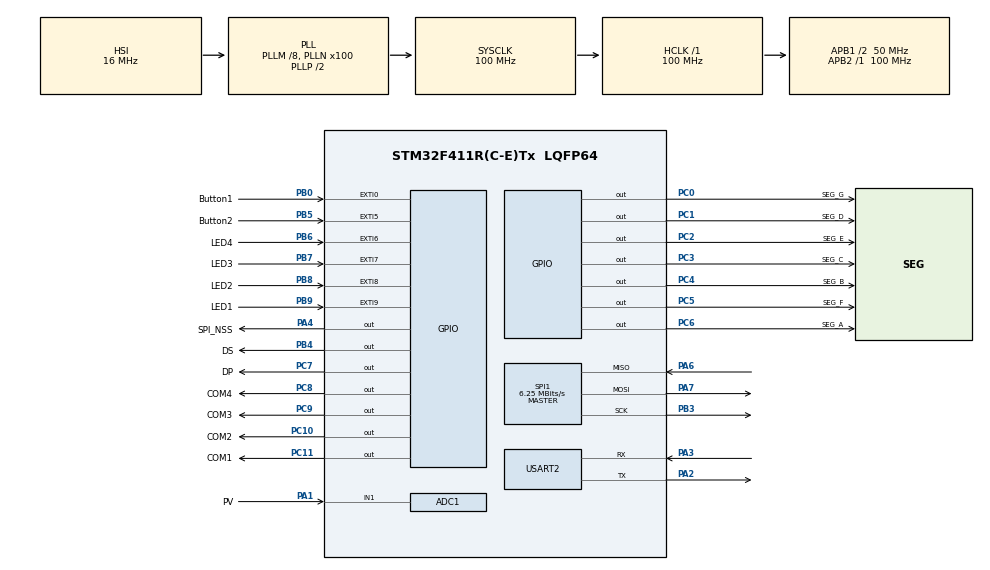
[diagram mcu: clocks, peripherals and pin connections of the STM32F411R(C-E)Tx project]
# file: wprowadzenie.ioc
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ADC1.Channel-0\#ChannelRegularConversion=ADC_CHANNEL_1
ADC1.Channel-1\#ChannelRegularConversion=ADC_CHANNEL_TEMPSENSOR
ADC1.Channel-2\#ChannelRegularConversion=ADC_CHANNEL_VREFINT
ADC1.ContinuousConvMode=ENABLE
ADC1.DMAContinuousRequests=ENABLE
ADC1.DiscontinuousConvMode=DISABLE
ADC1.EOCSelection=ADC_EOC_SINGLE_CONV
ADC1.EnableAnalogWatchDog=true
ADC1.ExternalTrigConv=ADC_SOFTWARE_START
ADC1.ExternalTrigConvEdge=ADC_EXTERNALTRIGCONVEDGE_NONE
ADC1.InjNumberOfConversion=0
ADC1.NbrOfConversion=3
ADC1.NbrOfConversionFlag=1
ADC1.Rank-0\#ChannelRegularConversion=1
ADC1.Rank-1\#ChannelRegularConversion=2
ADC1.Rank-2\#ChannelRegularConversion=3
ADC1.SamplingTime-0\#ChannelRegularConversion=ADC_SAMPLETIME_480CYCLES
ADC1.SamplingTime-1\#ChannelRegularConversion=ADC_SAMPLETIME_480CYCLES
ADC1.SamplingTime-2\#ChannelRegularConversion=ADC_SAMPLETIME_480CYCLES
ADC1.ScanConvMode=ENABLE
ADC1.WatchdogChannel=ADC_CHANNEL_1
ADC1.master=1
Dma.ADC1.2.Direction=DMA_PERIPH_TO_MEMORY
Dma.ADC1.2.FIFOMode=DMA_FIFOMODE_DISABLE
Dma.ADC1.2.Instance=DMA2_Stream0
Dma.ADC1.2.MemDataAlignment=DMA_MDATAALIGN_HALFWORD
Dma.ADC1.2.MemInc=DMA_MINC_ENABLE
Dma.ADC1.2.Mode=DMA_CIRCULAR
Dma.ADC1.2.PeriphDataAlignment=DMA_PDATAALIGN_HALFWORD
Dma.ADC1.2.PeriphInc=DMA_PINC_DISABLE
Dma.ADC1.2.Priority=DMA_PRIORITY_LOW
Dma.Request0=USART2_RX
Dma.Request1=USART2_TX
Dma.Request2=ADC1
Dma.USART2_RX.0.Direction=DMA_PERIPH_TO_MEMORY
Dma.USART2_RX.0.FIFOMode=DMA_FIFOMODE_DISABLE
Dma.USART2_RX.0.Instance=DMA1_Stream5
Dma.USART2_RX.0.MemDataAlignment=DMA_MDATAALIGN_BYTE
Dma.USART2_RX.0.MemInc=DMA_MINC_ENABLE
Dma.USART2_RX.0.Mode=DMA_NORMAL
Dma.USART2_RX.0.PeriphDataAlignment=DMA_PDATAALIGN_BYTE
Dma.USART2_RX.0.PeriphInc=DMA_PINC_DISABLE
Dma.USART2_RX.0.Priority=DMA_PRIORITY_LOW
Dma.USART2_TX.1.Direction=DMA_MEMORY_TO_PERIPH
Dma.USART2_TX.1.FIFOMode=DMA_FIFOMODE_DISABLE
Dma.USART2_TX.1.Instance=DMA1_Stream6
Dma.USART2_TX.1.MemDataAlignment=DMA_MDATAALIGN_BYTE
Dma.USART2_TX.1.MemInc=DMA_MINC_ENABLE
Dma.USART2_TX.1.Mode=DMA_NORMAL
Dma.USART2_TX.1.PeriphDataAlignment=DMA_PDATAALIGN_BYTE
Dma.USART2_TX.1.PeriphInc=DMA_PINC_DISABLE
Dma.USART2_TX.1.Priority=DMA_PRIORITY_LOW
Mcu.Family=STM32F4
Mcu.Name=STM32F411R(C-E)Tx
Mcu.Package=LQFP64
NVIC.ADC_IRQn=true\:0\:0\:false\:false\:true\:true\:true
NVIC.DMA1_Stream5_IRQn=true\:0\:0\:false\:false\:true\:false\:true
NVIC.DMA1_Stream6_IRQn=true\:0\:0\:false\:false\:true\:false\:true
NVIC.DMA2_Stream0_IRQn=true\:0\:0\:false\:false\:true\:false\:true
NVIC.EXTI0_IRQn=true\:0\:0\:false\:false\:true\:true\:true
NVIC.EXTI9_5_IRQn=true\:0\:0\:false\:false\:true\:true\:true
NVIC.PriorityGroup=NVIC_PRIORITYGROUP_4
NVIC.TIM1_UP_TIM10_IRQn=true\:0\:0\:false\:false\:true\:true\:true
NVIC.TIM2_IRQn=true\:0\:0\:false\:false\:true\:true\:true
NVIC.TIM3_IRQn=true\:0\:0\:false\:false\:true\:true\:true
NVIC.USART2_IRQn=true\:0\:0\:false\:false\:true\:true\:true
PA1.GPIO_Label=PV
PA1.Signal=ADCx_IN1
PA2.Mode=Asynchronous
PA2.Signal=USART2_TX
PA3.Mode=Asynchronous
PA3.Signal=USART2_RX
PA4.GPIO_Label=SPI_NSS
PA4.GPIO_PuPd=GPIO_PULLUP
PA4.GPIO_Speed=GPIO_SPEED_FREQ_HIGH
PA4.PinState=GPIO_PIN_SET
PA4.Signal=GPIO_Output
PA6.Mode=Full_Duplex_Master
PA6.Signal=SPI1_MISO
PA7.Mode=Full_Duplex_Master
PA7.Signal=SPI1_MOSI
PB0.GPIO_Label=Button1
PB0.GPIO_PuPd=GPIO_PULLUP
PB0.Signal=GPXTI0
PB3.Mode=Full_Duplex_Master
PB3.Signal=SPI1_SCK
PB4.GPIO_Label=DS
PB4.GPIO_ModeDefaultOutputPP=GPIO_MODE_OUTPUT_OD
PB4.PinState=GPIO_PIN_SET
PB4.Signal=GPIO_Output
PB5.GPIO_Label=Button2
PB5.GPIO_PuPd=GPIO_PULLUP
PB5.Signal=GPXTI5
PB6.GPIO_Label=LED4
PB6.Signal=GPXTI6
PB7.GPIO_Label=LED3
PB7.Signal=GPXTI7
PB8.GPIO_Label=LED2
PB8.Signal=GPXTI8
PB9.GPIO_Label=LED1
PB9.Signal=GPXTI9
PC0.GPIO_Label=SEG_G
PC0.Signal=GPIO_Output
PC1.GPIO_Label=SEG_D
PC1.Signal=GPIO_Output
PC10.GPIO_Label=COM2
PC10.PinState=GPIO_PIN_SET
PC10.Signal=GPIO_Output
PC11.GPIO_Label=COM1
PC11.PinState=GPIO_PIN_SET
PC11.Signal=GPIO_Output
PC2.GPIO_Label=SEG_E
PC2.Signal=GPIO_Output
PC3.GPIO_Label=SEG_C
PC3.Signal=GPIO_Output
PC4.GPIO_Label=SEG_B
PC4.Signal=GPIO_Output
PC5.GPIO_Label=SEG_F
PC5.Signal=GPIO_Output
PC6.GPIO_Label=SEG_A
PC6.Signal=GPIO_Output
PC7.GPIO_Label=DP
PC7.Signal=GPIO_Output
PC8.GPIO_Label=COM4
PC8.PinState=GPIO_PIN_SET
PC8.Signal=GPIO_Output
PC9.GPIO_Label=COM3
PC9.PinState=GPIO_PIN_SET
PC9.Signal=GPIO_Output
ProjectManager.HeapSize=0x200
ProjectManager.StackSize=0x400
ProjectManager.TargetToolchain=STM32CubeIDE
RCC.48MHZClocksFreq_Value=50000000
RCC.AHBFreq_Value=100000000
RCC.APB1CLKDivider=RCC_HCLK_DIV2
RCC.APB1Freq_Value=50000000
RCC.APB1TimFreq_Value=100000000
RCC.APB2Freq_Value=100000000
RCC.APB2TimFreq_Value=100000000
RCC.CortexFreq_Value=100000000
RCC.HCLKFreq_Value=100000000
RCC.HSE_VALUE=25000000
RCC.HSI_VALUE=16000000
RCC.LSE_VALUE=32768
RCC.PLLM=8
RCC.PLLN=100
RCC.SYSCLKFreq_VALUE=100000000
RCC.SYSCLKSource=RCC_SYSCLKSOURCE_PLLCLK
RCC.VCOOutputFreq_Value=200000000
SH.ADCx_IN1.0=ADC1_IN1,IN1
SPI1.BaudRatePrescaler=SPI_BAUDRATEPRESCALER_16
SPI1.CalculateBaudRate=6.25 MBits/s
SPI1.DataSize=SPI_DATASIZE_16BIT
SPI1.Direction=SPI_DIRECTION_2LINES
SPI1.Mode=SPI_MODE_MASTER
SPI1.VirtualType=VM_MASTER
TIM1.AutoReloadPreload=TIM_AUTORELOAD_PRELOAD_ENABLE
TIM1.ClockDivision=TIM_CLOCKDIVISION_DIV1
TIM1.Period=1000
TIM1.Prescaler=100
TIM1.TIM_MasterOutputTrigger=TIM_TRGO_RESET
TIM2.AutoReloadPreload=TIM_AUTORELOAD_PRELOAD_ENABLE
TIM2.Period=10000
TIM2.Prescaler=10000
TIM3.AutoReloadPreload=TIM_AUTORELOAD_PRELOAD_ENABLE
TIM3.Period=100
TIM3.Prescaler=10000
TIM4.AutoReloadPreload=TIM_AUTORELOAD_PRELOAD_ENABLE
TIM4.Period=65535
TIM4.Prescaler=99
USART2.VirtualMode=VM_ASYNC
VP_ADC1_TempSens_Input.Mode=IN-TempSens
VP_ADC1_Vref_Input.Mode=IN-Vrefint
VP_TIM1_VS_ClockSourceINT.Mode=Internal
VP_TIM2_VS_ClockSourceINT.Mode=Internal
VP_TIM3_VS_ClockSourceINT.Mode=Internal
VP_TIM4_VS_ClockSourceINT.Mode=Internal
board=custom

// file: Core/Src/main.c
/* USER CODE BEGIN Header */
/**
  ******************************************************************************
  * @file           : main.c
  * @brief          : Main program body
  ******************************************************************************
  * @attention
  *
  * <h2><center>&copy; Copyright (c) 2021 STMicroelectronics.
  * All rights reserved.</center></h2>
  *
  * This software component is licensed by ST under BSD 3-Clause license,
  * the "License"; You may not use this file except in compliance with the
  * License. You may obtain a copy of the License at:
  *                        opensource.org/licenses/BSD-3-Clause
  *
  ******************************************************************************
  */
/* USER CODE END Header */

#include "main.h"
#include "adc.h"
#include "dma.h"
#include "spi.h"
#include "tim.h"
#include "usart.h"
#include "gpio.h"

/* USER CODE BEGIN Includes */
#include "one_wire_lib.h"
extern UART_HandleTypeDef huart2;
/* USER CODE END Includes */

/* USER CODE BEGIN PD */
uint16_t ADCDMABuff[3];
/* USER CODE END PD */

void SystemClock_Config(void);

int main(void)
{

  /* MCU Configuration--------------------------------------------------------*/

  /* Reset of all peripherals, Initializes the Flash interface and the Systick. */
  HAL_Init();

  /* Configure the system clock */
  SystemClock_Config();

  /* Initialize all configured peripherals */
  MX_GPIO_Init();
  MX_DMA_Init();
  MX_TIM1_Init();
  MX_ADC1_Init();
  MX_USART2_UART_Init();
  MX_TIM2_Init();
  MX_TIM3_Init();
  MX_TIM4_Init();
  MX_SPI1_Init();
  /* USER CODE BEGIN 2 */
  HAL_TIM_Base_Start_IT(&htim1);
  HAL_TIM_Base_Start_IT(&htim2);
  HAL_TIM_Base_Start_IT(&htim3);
  HAL_TIM_Base_Start_IT(&htim4);
//  HAL_ADC_Start_IT(&hadc1);
  HAL_UART_Receive_IT(&huart2, &Received, 1);
  HAL_ADC_Start_DMA(&hadc1, ADCDMABuff, 3);

  extern uint16_t temperature;
  uint8_t scratchpad[9];

	#define OUT_Z 0x2d
	#define CTRL_REG1 0x20
	#define CTRL_REG2 0x21
	#define CTRL_REG3 0x22
	#define CTRL_REG1_FLAGS 0b11000111
	#define CTRL_REG2_FLAGS 0b01000000
	int licznik;

	SPIWrite(CTRL_REG1, CTRL_REG1_FLAGS);
	SPIWrite(CTRL_REG2, CTRL_REG2_FLAGS);

  /* USER CODE END 2 */

  /* Infinite loop */
  /* USER CODE BEGIN WHILE */
  while (1)
  {
	   wire_reset();
	   wire_write(0xcc);
	   wire_write(0x44);

	   HAL_Delay(750);

	   wire_reset();
	   wire_write(0xcc);
	   wire_write(0xbe);

	   for (int i = 0; i < 9; i++)
		 scratchpad[i] = wire_read();
	   uint8_t crc = wire_crc(scratchpad, 8);
	   if (crc == scratchpad[8]) {
		   temperature = (scratchpad[1] << 8) | scratchpad[0];
	   }

    /* USER CODE END WHILE */

  }
}

void SystemClock_Config(void)
{
  RCC_OscInitTypeDef RCC_OscInitStruct = {0};
  RCC_ClkInitTypeDef RCC_ClkInitStruct = {0};

  /** Configure the main internal regulator output voltage
  */
  __HAL_RCC_PWR_CLK_ENABLE();
  __HAL_PWR_VOLTAGESCALING_CONFIG(PWR_REGULATOR_VOLTAGE_SCALE1);
  /** Initializes the CPU, AHB and APB busses clocks
  */
  RCC_OscInitStruct.OscillatorType = RCC_OSCILLATORTYPE_HSI;
  RCC_OscInitStruct.HSIState = RCC_HSI_ON;
  RCC_OscInitStruct.HSICalibrationValue = RCC_HSICALIBRATION_DEFAULT;
  RCC_OscInitStruct.PLL.PLLState = RCC_PLL_ON;
  RCC_OscInitStruct.PLL.PLLSource = RCC_PLLSOURCE_HSI;
  RCC_OscInitStruct.PLL.PLLM = 8;
  RCC_OscInitStruct.PLL.PLLN = 100;
  RCC_OscInitStruct.PLL.PLLP = RCC_PLLP_DIV2;
  RCC_OscInitStruct.PLL.PLLQ = 4;
  if (HAL_RCC_OscConfig(&RCC_OscInitStruct) != HAL_OK)
  {
    Error_Handler();
  }
  /** Initializes the CPU, AHB and APB busses clocks
  */
  RCC_ClkInitStruct.ClockType = RCC_CLOCKTYPE_HCLK|RCC_CLOCKTYPE_SYSCLK
                              |RCC_CLOCKTYPE_PCLK1|RCC_CLOCKTYPE_PCLK2;
  RCC_ClkInitStruct.SYSCLKSource = RCC_SYSCLKSOURCE_PLLCLK;
  RCC_ClkInitStruct.AHBCLKDivider = RCC_SYSCLK_DIV1;
  RCC_ClkInitStruct.APB1CLKDivider = RCC_HCLK_DIV2;
  RCC_ClkInitStruct.APB2CLKDivider = RCC_HCLK_DIV1;

  if (HAL_RCC_ClockConfig(&RCC_ClkInitStruct, FLASH_LATENCY_3) != HAL_OK)
  {
    Error_Handler();
  }
}

/* USER CODE BEGIN 4 */
void HAL_ADC_LevelOutOfWindowCallback(ADC_HandleTypeDef* hadc) {
  printf("!!!! OUT OF WINDOW INTERRUPT !!!!\r\n");
}
/* USER CODE END 4 */

void Error_Handler(void)
{
}

/************************ (C) COPYRIGHT STMicroelectronics *****END OF FILE****/
